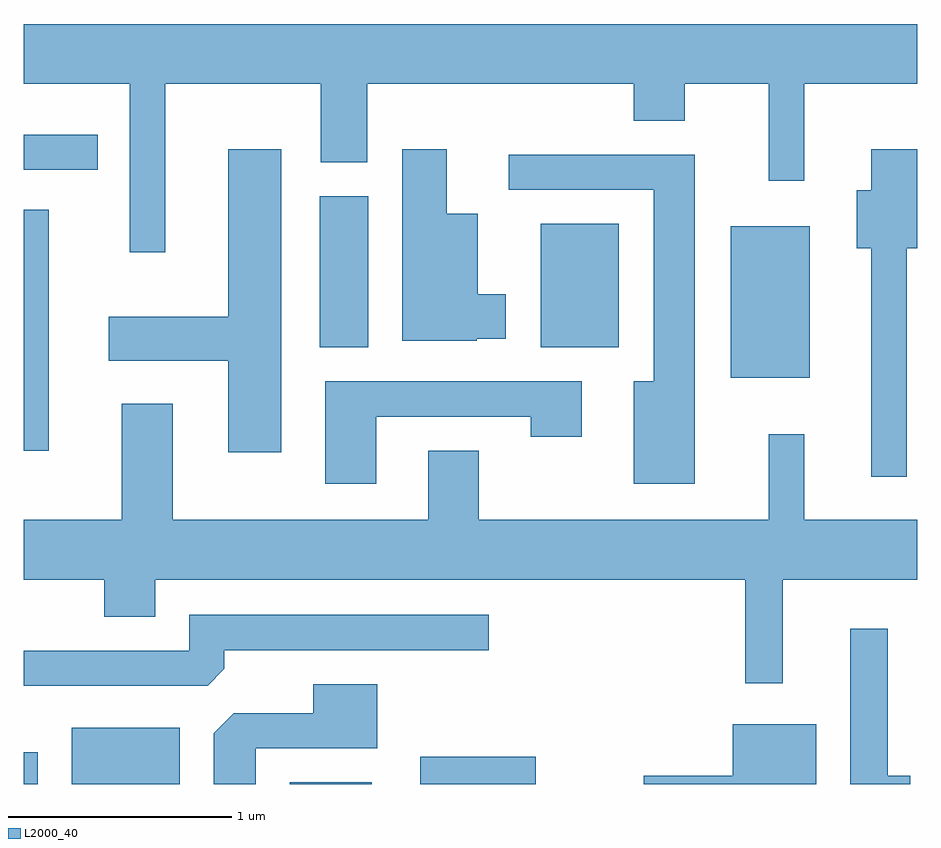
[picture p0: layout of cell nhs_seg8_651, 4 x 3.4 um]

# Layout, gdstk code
import gdstk
lib = gdstk.Library(unit=1e-6, precision=1e-09)
def R(c, l, rs):  # rectangles x0, y0, x1, y1
    for r in rs: c.add(gdstk.rectangle(r[:2], r[2:], *l))
def P(c, l, *ps):  # polygons
    for p in ps: c.add(gdstk.Polygon(p, *l))
L2000_40 = (2000, 40)

nhs_seg8_651 = lib.new_cell('nhs_seg8_651')
R(nhs_seg8_651, L2000_40, [(203.611,1884.342,203.674,1884.484), (203.826,1884.342,204.309,1884.594), (204.801,1884.342,205.169,1884.349), (205.386,1884.342,205.904,1884.464), (203.611,1885.833,203.724,1886.913), (206.776,1886.161,207.129,1886.839), (204.936,1886.296,205.154,1886.974), (205.926,1886.296,206.274,1886.849), (203.611,1887.091,203.943,1887.249)])
P(nhs_seg8_651, L2000_40, [(203.611,1887.476),(204.086,1887.476),(204.086,1886.723),(204.244,1886.723),(204.244,1887.476),(204.941,1887.476),(204.941,1887.126),(205.149,1887.126),(205.149,1887.476),(206.341,1887.476),(206.341,1887.311),(206.569,1887.311),(206.569,1887.476),(206.946,1887.476),(206.946,1887.043),(207.104,1887.043),(207.104,1887.476),(207.611,1887.476),(207.611,1887.744),(203.611,1887.744)],
  [(207.564,1886.741),(207.611,1886.741),(207.611,1887.184),(207.406,1887.184),(207.406,1886.999),(207.341,1886.999),(207.341,1886.741),(207.406,1886.741),(207.406,1885.718),(207.564,1885.718)],
  [(204.764,1887.184),(204.526,1887.184),(204.526,1886.434),(203.991,1886.434),(203.991,1886.236),(204.526,1886.236),(204.526,1885.826),(204.764,1885.826)],
  [(205.64,1886.336),(205.769,1886.336),(205.769,1886.534),(205.644,1886.534),(205.644,1886.894),(205.504,1886.894),(205.504,1887.184),(205.306,1887.184),(205.306,1886.326),(205.64,1886.326)],
  [(206.614,1887.159),(205.783,1887.159),(205.783,1887.001),(206.431,1887.001),(206.431,1886.144),(206.341,1886.144),(206.341,1885.686),(206.614,1885.686)],
  [(205.189,1885.986),(205.881,1885.986),(205.881,1885.896),(206.109,1885.896),(206.109,1886.144),(204.961,1886.144),(204.961,1885.686),(205.189,1885.686)],
  [(207.009,1885.256),(207.611,1885.256),(207.611,1885.524),(207.104,1885.524),(207.104,1885.908),(206.946,1885.908),(206.946,1885.524),(205.649,1885.524),(205.649,1885.834),(205.421,1885.834),(205.421,1885.524),(204.279,1885.524),(204.279,1886.044),(204.051,1886.044),(204.051,1885.524),(203.611,1885.524),(203.611,1885.256),(203.971,1885.256),(203.971,1885.091),(204.199,1885.091),(204.199,1885.256),(206.841,1885.256),(206.841,1884.793),(207.009,1884.793)],
  [(204.509,1884.857),(204.509,1884.941),(205.693,1884.941),(205.693,1885.099),(204.351,1885.099),(204.351,1884.939),(203.611,1884.939),(203.611,1884.781),(204.434,1884.781)],
  [(207.579,1884.379),(207.479,1884.379),(207.479,1885.038),(207.311,1885.038),(207.311,1884.342),(207.579,1884.342)],
  [(204.649,1884.501),(205.194,1884.501),(205.194,1884.789),(204.906,1884.789),(204.906,1884.659),(204.552,1884.659),(204.461,1884.569),(204.461,1884.342),(204.649,1884.342)],
  [(207.159,1884.609),(206.786,1884.609),(206.786,1884.379),(206.386,1884.379),(206.386,1884.342),(207.159,1884.342)])

lib.write_gds('nhs_seg8_651.gds')
